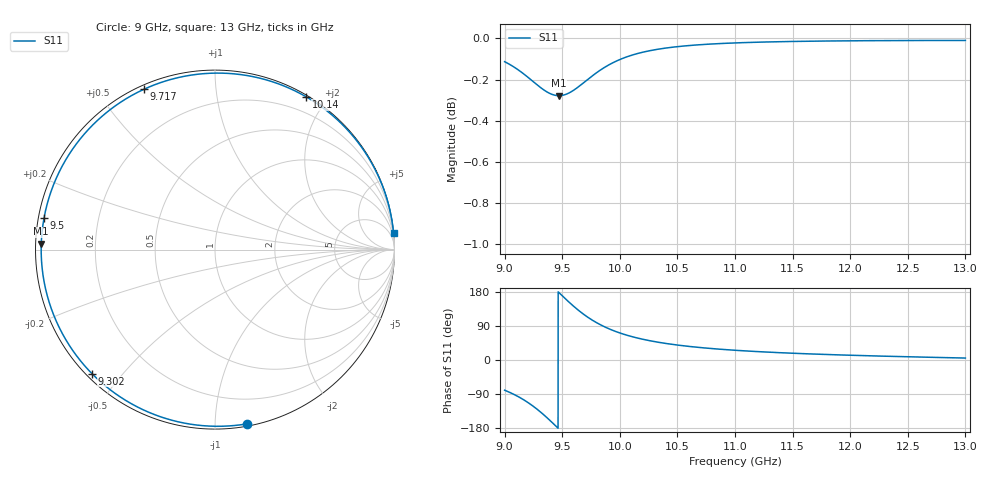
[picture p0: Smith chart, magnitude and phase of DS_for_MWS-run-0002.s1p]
! TOUCHSTONE file generated by CST DESIGN STUDIO
! Date and time: Tue Feb  4 12:34:20 2025
! Project name: C:\Work\MatlabApps\UnitCellOptimizationMatlab\CST\unitcell.cst
! Tree item: Tasks\Sweep1\SPara1\S-Parameters
! Header version: 2024
! Port assignment regex: !\s*Touchstone port\s*([0-9]+)\s*=\s*(CST MWS port|CST DES external port|CST DES block port)\s*(.+)\s* \(\"(.*)\"\)(\s*mode\s*([0-9]+))?.*
! Touchstone port assignment:
! Touchstone port 1 = CST DES external port 1 ("")
# GHz S MA R 50
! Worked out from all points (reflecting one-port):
!   4001 points, 9 GHz to 13 GHz, reference 50 ohm
!   lowest |S11| = -0.3 dB at 9.471 GHz (marker M1), VSWR 62.47, Z = 0.801 + j0.851 ohm
!   phase of S11 starts at -80 deg and turns -275 deg over the sweep
!   S11 on the Smith chart (normalised r, x): 9 GHz: 0.02, -1.20; 9.302 GHz: 0.02, -0.42; 9.5 GHz: 0.02, +0.09; 9.717 GHz: 0.02, +0.65; 10.14 GHz: 0.02, +1.76; 13 GHz: 0, +22
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9  0.9871 -79.7
9.074  0.9844 -89.7
9.125  0.9823 -97.8
9.171  0.9801 -106.0
9.239  0.9766 -119.9
9.302  0.9734 -134.8
9.346  0.9714 -146.2
9.393  0.9697 -159.3
9.433  0.9688 -170.8
9.471  0.9685 178.1
9.5  0.9687 169.6
9.552  0.9697 154.7
9.612  0.972 138.5
9.664  0.9744 125.7
9.717  0.9771 113.9
9.773  0.9798 103.0
9.836  0.9827 92.4
9.916  0.9857 81.0
10  0.9883 71.4
10.136  0.9913 59.2
10.3  0.9936 48.6
10.5  0.9954 39.5
10.722  0.9966 32.2
11  0.9975 25.7
11.5  0.9983 17.8
12  0.9987 12.5
12.5  0.9988 8.5
13  0.9989 5.2
